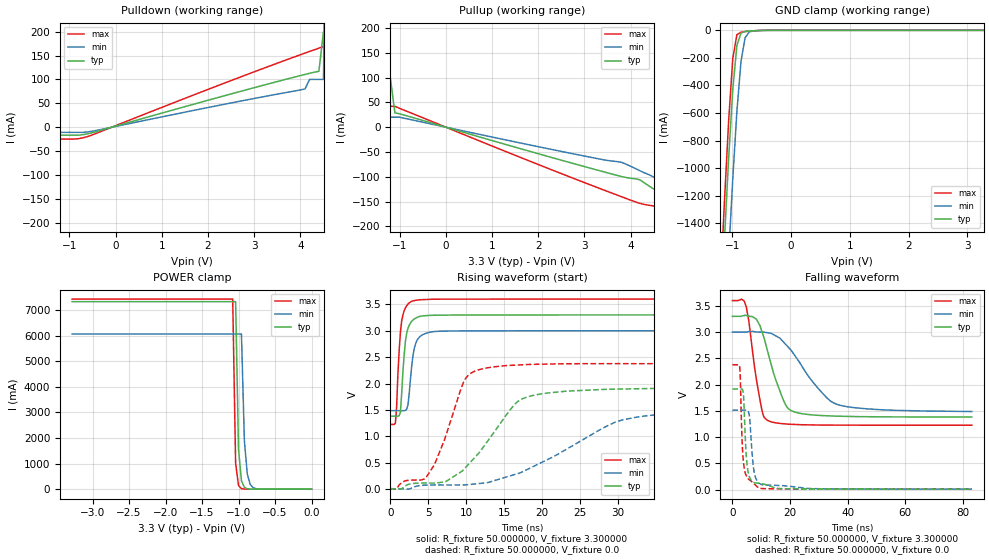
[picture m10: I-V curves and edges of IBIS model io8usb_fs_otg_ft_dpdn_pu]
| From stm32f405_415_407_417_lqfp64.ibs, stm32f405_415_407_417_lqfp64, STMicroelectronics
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|   Model io8usb_fs_otg_ft_dpdn_pu
[Model]  io8usb_fs_otg_ft_dpdn_pu
Model_type I/O
Polarity   Non-Inverting
Enable   Active-Low
Vinl =   0.990000V
Vinh =   2.310000V
Vmeas =  1.650000V
Cref =   50.000000pF
Rref =   100.000000M
Vref =   0.0V
C_comp   8.255900pF   7.991100pF   8.650600pF
[Temperature Range]   25.000000   0.125000k   -40.000000
[Pullup Reference]   3.300000V   3.000000V   3.600000V
[Pulldown Reference]   0.0V   0.0V   0.0V
[POWER Clamp Reference]   3.300000V   3.000000V   3.600000V
[GND Clamp Reference]   0.0V   0.0V   0.0V
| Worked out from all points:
|   slope of the pulldown table from 0 to 0.495 V, typ, clamps not added: 36.5 ohm
|   slope of the pullup table from 0 to 0.495 V, typ, clamps not added: 36.9 ohm
|   GND clamp passes 1 mA (typ) near -0.52 V on its own axis
|   POWER clamp passes 1 mA (typ) near -0.77 V on its own axis
|   rising waveform, R_fixture 50.000000, V_fixture 3.300000: 20-80 % time 644ps typ, 751ps min, 580ps max; typ from 1.38 V to 3.3 V
|   rising waveform, R_fixture 50.000000, V_fixture 0.0: 20-80 % time 6.19ns typ, 11.7ns min, 3.46ns max; typ from 0.008 V to 1.91 V
|   falling waveform, R_fixture 50.000000, V_fixture 3.300000: 20-80 % time 6.44ns typ, 12.4ns min, 3.69ns max; typ from 3.3 V to 1.38 V
|   falling waveform, R_fixture 50.000000, V_fixture 0.0: 20-80 % time 1.21ns typ, 1.46ns min, 1.05ns max; typ from 1.91 V to 0.008 V
[Pulldown]
|Voltage   I(typ)   I(min)   I(max)
-3.3V     -181mA     -10.92mA   -218mA
-3.2V     -136mA     -10.92mA   -212mA
-2.9V     -122mA     -10.92mA   -197mA
-2.8V     -16.88mA   -10.92mA   -24.99mA
-700mV    -15.64mA   -10.92mA   -22.23mA
4.1V      110.4mA    80mA       155.2mA
4.2V      112.9mA    100mA      158.6mA
4.4V      117mA      100mA      165.4mA
4.5V      200mA      100mA      168.8mA
4.6V      200mA      1A         172.1mA
4.8V      1A         1A         200mA
6.6V      1A         1A         1A
[Pullup]
|Voltage   I(typ)   I(min)   I(max)
-3.3V     1A         1A         1A
-1.9V     1A         1A         1A
-1.8V     100mA      1A         1A
-1.7V     100mA      1A         100mA
-1.6V     100mA      1A         100mA
-1.5V     100mA      20mA       100mA
-1.3V     100mA      20mA       100mA
-1.2V     100mA      20mA       42mA
-1.1V     29mA       20mA       42mA
4.2V      -106mA     -87.7mA    -153.5mA
5V        -154.3mA   -123mA     -199.9mA
6.6V      -220mA     -159mA     -317mA
[GND_clamp]
|Voltage   I(typ)   I(min)   I(max)
-3.3V     -9.433A    -9.435A    -9.911A
-1.2V     -2.116A    -2.846A    -1.847A
-1.13V    -1.505A    -2.23A     -1.23A
-1.06V    -930.4mA   -1.637A    -658.9mA
-990mV    -432.7mA   -1.08A     -207.3mA
-920mV    -110.5mA   -590.3mA   -31.59mA
-850mV    -19.84mA   -226.8mA   -13.66mA
-780mV    -8.32mA    -54.05mA   -9.516mA
-710mV    -5.29mA    -11.97mA   -6.271mA
-640mV    -3.236mA   -4.296mA   -3.584mA
3.28V     0A         0A         0A
[POWER_clamp]
|Voltage   I(typ)   I(min)   I(max)
-3.28V    7.329A     6.065A     7.432A
-1.08V    7.329A     6.065A     7.432A
-1.04V    7.329A     6.065A     1.016A
-1V       1.546A     6.065A     140mA
-960mV    326.6mA    6.065A     20.26mA
-920mV    69.53mA    1.891A     3.845mA
-880mV    15.31mA    589.6mA    1.536mA
-840mV    3.837mA    184.1mA    1.157mA
-800mV    1.378mA    57.75mA    1.042mA
-720mV    664.9uA    6.031mA    894.5uA
0V        184nA      121.7nA    386.5nA
[Ramp]
| variable   typ   min   max
dV/dt_r  1.14368/6.18089n   0.90337/11.66724n   1.42004/3.45480n
dV/dt_f  1.15026/6.43166n   0.90582/12.40502n   1.42410/3.68417n
R_load = 50.000000
[Rising Waveform]
R_fixture= 50.000000
V_fixture= 3.300000
V_fixture_min= 3.000000
V_fixture_max= 3.600000
|time   V(typ)   V(min)   V(max)
0s        1.383V     1.487V     1.226V
667.3ps   1.383V     1.487V     1.248V
1.335ns   1.457V     1.487V     2.972V
1.502ns   1.813V     1.487V     3.184V
1.835ns   2.555V     1.487V     3.379V
2.169ns   2.958V     1.517V     3.475V
3.003ns   3.204V     2.542V     3.565V
3.337ns   3.239V     2.754V     3.576V
7.341ns   3.296V     2.994V     3.598V
83.08ns   3.3V       3V         3.6V
[Rising Waveform]
R_fixture= 50.000000
V_fixture= 0.0
V_fixture_min= 0.0
V_fixture_max= 0.0
|time   V(typ)   V(min)   V(max)
0s        8.179mV    7.091mV    10.72mV
4.671ns   116.2mV    77.59mV    212.1mV
7.174ns   139.1mV    80.84mV    947.7mV
9.843ns   399.2mV    81.8mV     2.077V
12.68ns   880.8mV    121.7mV    2.295V
16.35ns   1.598V     276.2mV    2.348V
17.85ns   1.736V     360.2mV    2.358V
29.03ns   1.892V     1.23V      2.377V
33.7ns    1.905V     1.389V     2.377V
83.08ns   1.914V     1.513V     2.377V
[Falling Waveform]
R_fixture= 50.000000
V_fixture= 3.300000
V_fixture_min= 3.000000
V_fixture_max= 3.600000
|time   V(typ)   V(min)   V(max)
0s        3.3V       3V         3.6V
4.671ns   3.32V      3V         3.508V
9.843ns   3.079V     3V         1.629V
10.84ns   2.913V     2.999V     1.4V
12.35ns   2.611V     2.987V     1.314V
17.85ns   1.687V     2.804V     1.253V
21.86ns   1.474V     2.539V     1.24V
29.36ns   1.415V     1.954V     1.23V
36.37ns   1.398V     1.622V     1.227V
83.08ns   1.383V     1.487V     1.226V
[Falling Waveform]
R_fixture= 50.000000
V_fixture= 0.0
V_fixture_min= 0.0
V_fixture_max= 0.0
|time   V(typ)   V(min)   V(max)
0s        1.914V     1.513V     2.377V
2.503ns   1.914V     1.512V     2.35V
3.504ns   1.907V     1.513V     772.5mV
4.004ns   1.664V     1.513V     448.1mV
4.505ns   964.7mV    1.513V     303.8mV
5.005ns   520.8mV    1.514V     246.8mV
5.839ns   249.6mV    1.428V     188.1mV
7.341ns   137.7mV    411.2mV    118.8mV
9.176ns   120.1mV    122.9mV    26.59mV
83.08ns   8.179mV    7.091mV    10.72mV
